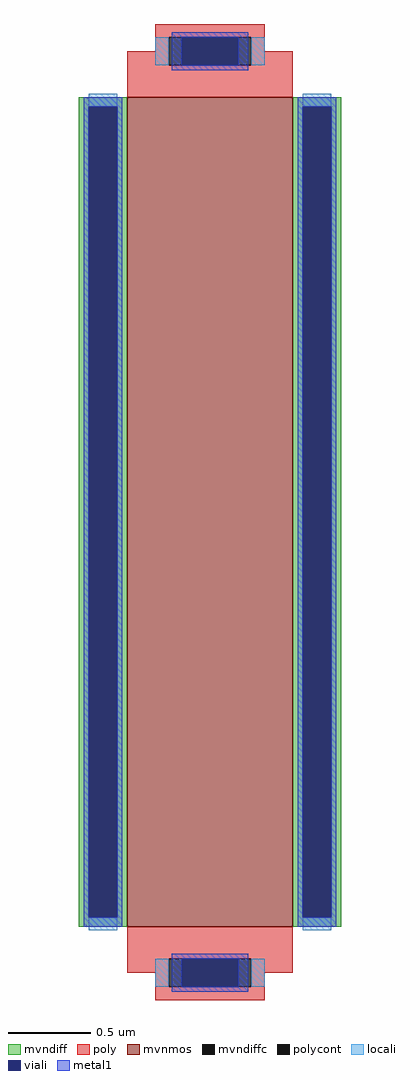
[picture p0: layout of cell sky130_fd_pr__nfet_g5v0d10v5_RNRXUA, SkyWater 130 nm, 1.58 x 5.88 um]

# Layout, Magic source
magic
tech sky130A
magscale 1 2
<< mvnmos >>
rect -100 -500 100 500
<< mvndiff >>
rect -158 488 -100 500
rect -158 -488 -146 488
rect -112 -488 -100 488
rect -158 -500 -100 -488
rect 100 488 158 500
rect 100 -488 112 488
rect 146 -488 158 488
rect 100 -500 158 -488
<< mvndiffc >>
rect -146 -488 -112 488
rect 112 -488 146 488
<< poly >>
rect -66 572 66 588
rect -66 555 -50 572
rect -100 538 -50 555
rect 50 555 66 572
rect 50 538 100 555
rect -100 500 100 538
rect -100 -538 100 -500
rect -100 -555 -50 -538
rect -66 -572 -50 -555
rect 50 -555 100 -538
rect 50 -572 66 -555
rect -66 -588 66 -572
<< polycont >>
rect -50 538 50 572
rect -50 -572 50 -538
<< locali >>
rect -66 538 -50 572
rect 50 538 66 572
rect -146 488 -112 504
rect -146 -504 -112 -488
rect 112 488 146 504
rect 112 -504 146 -488
rect -66 -572 -50 -538
rect 50 -572 66 -538
<< viali >>
rect -34 538 34 572
rect -146 -488 -112 488
rect 112 -488 146 488
rect -34 -572 34 -538
<< metal1 >>
rect -46 572 46 578
rect -46 538 -34 572
rect 34 538 46 572
rect -46 532 46 538
rect -152 488 -106 500
rect -152 -488 -146 488
rect -112 -488 -106 488
rect -152 -500 -106 -488
rect 106 488 152 500
rect 106 -488 112 488
rect 146 -488 152 488
rect 106 -500 152 -488
rect -46 -538 46 -532
rect -46 -572 -34 -538
rect 34 -572 46 -538
rect -46 -578 46 -572
<< properties >>
string gencell sky130_fd_pr__nfet_g5v0d10v5
string parameters w 5 l 1 m 1 nf 1 diffcov 100 polycov 60 guard 0 glc 0 grc 0 gtc 0 gbc 0 tbcov 100 rlcov 100 topc 1 botc 1 poverlap 0 doverlap 1 lmin 0.50 wmin 0.42 compatible {sky130_fd_pr__nfet_01v8 sky130_fd_pr__nfet_01v8_lvt  sky130_fd_bs_flash__special_sonosfet_star  sky130_fd_pr__nfet_g5v0d10v5 sky130_fd_pr__nfet_05v0_nvt  sky130_fd_pr__nfet_03v3_nvt} full_metal 0 viasrc 100 viadrn 100 viagate 40 viagb 0 viagr 0 viagl 0 viagt 0
string library sky130
<< end >>
